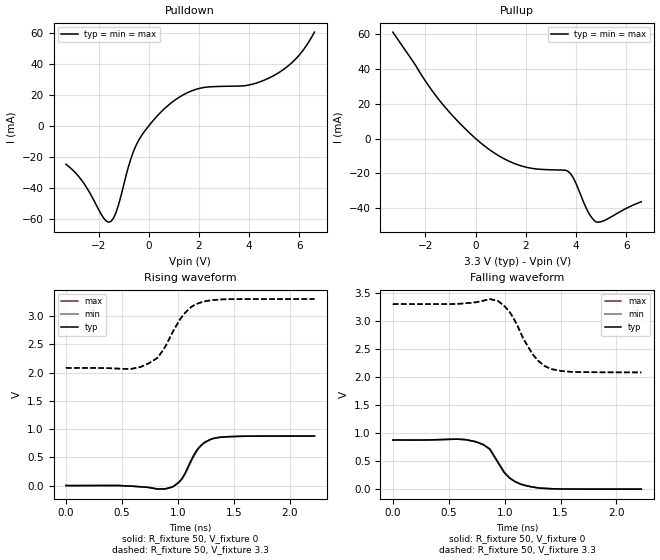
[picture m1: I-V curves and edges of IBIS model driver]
| IBIS file ex2_weak_tr1ps.ibs created by PYS2IBIS3
| Missouri S&T EMC Lab
[IBIS Ver] 7.1
[File Name] ex2_weak_tr1ps.ibs
[File Rev] 1.0
[Date] July 28, 2026
[Source] ex2 variant 'weak' -- output stage at half width
[Notes] Parameter selection; sim_time=2.222e-09, tr=tf=1.000e-12.
[Disclaimer] Experimental characterization for pybis observability study.
[Component] MCM Driver 1
[Manufacturer] MegaFLOPS Inc.
[Package]
| variable   typ   min   max
R_pkg 0 NA NA
L_pkg 0H NA NA
C_pkg 0F NA NA
[Pin]  signal_name   model_name   R_pin   L_pin   C_pin
vdd   vdd   POWER
gnd   gnd   GND
| in in dummy
out   out   driver
| End of Component
| Models and submodels in the file (1): driver (Output)
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[Model] driver
Model_type Output
Polarity Non-Inverting
Enable Active-Low
Vinl  = 0.8V
Vinh  = 2V
C_comp 5.0000pF 5.0000pF 5.0000pF
[Temperature Range] 27.0000 27.0000 27.0000
[Voltage Range] 3.3000V 3.3000V 3.3000V
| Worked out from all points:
|   slope of the pulldown table from 0 to 0.495 V, typ, clamps not added: 54.7 ohm
|   slope of the pullup table from 0 to 0.495 V, typ, clamps not added: 85.1 ohm
|   rising waveform, R_fixture 50, V_fixture 0: 20-80 % time 149ps typ, 151ps min, 151ps max; typ from 0 V to 0.876 V
|   rising waveform, R_fixture 50, V_fixture 3.3: 20-80 % time 224ps typ, 221ps min, 221ps max; typ from 2.08 V to 3.3 V
|   falling waveform, R_fixture 50, V_fixture 0: 20-80 % time 191ps typ, 190ps min, 190ps max; typ from 0.876 V to 0 V
|   falling waveform, R_fixture 50, V_fixture 3.3: 20-80 % time 208ps typ, 208ps min, 208ps max; typ from 3.3 V to 2.08 V
[Pulldown]
| Voltage   I(typ)   I(min)   I(max)
-3.3V     -24.71mA   -24.71mA   -24.71mA
-2.6V     -36.69mA   -36.69mA   -36.69mA
-1.8V     -59.35mA   -59.35mA   -59.35mA
-1.5V     -61.44mA   -61.44mA   -61.44mA
-1.3V     -55.57mA   -55.57mA   -55.57mA
-500mV    -12.32mA   -12.32mA   -12.32mA
600mV     10.7mA     10.7mA     10.7mA
1.9V      23.61mA    23.61mA    23.61mA
3.9V      26.05mA    26.05mA    26.05mA
4.9V      31.7mA     31.7mA     31.7mA
5.9V      43.88mA    43.88mA    43.88mA
6.6V      60.38mA    60.38mA    60.38mA
[Pullup]
| Voltage   I(typ)   I(min)   I(max)
-3.3V     61.37mA    61.37mA    61.37mA
-1.9V     30.97mA    30.97mA    30.97mA
-1.3V     19.49mA    19.49mA    19.49mA
-200mV    2.648mA    2.648mA    2.648mA
700mV     -7.897mA   -7.897mA   -7.897mA
2V        -16.47mA   -16.47mA   -16.47mA
3.7V      -19.09mA   -19.09mA   -19.09mA
3.9V      -22.93mA   -22.93mA   -22.93mA
4.5V      -42.81mA   -42.81mA   -42.81mA
4.8V      -48.13mA   -48.13mA   -48.13mA
5.1V      -47.39mA   -47.39mA   -47.39mA
6.6V      -36.41mA   -36.41mA   -36.41mA
[Ramp]
| variable   typ   min   max
dV/dt_r 0.5258/0.1495n 0.5258/0.1508n 0.5258/0.1508n
dV/dt_f 0.7308/0.2081n 0.7308/0.2078n 0.7308/0.2078n
R_load = 50
[Rising Waveform]
R_fixture = 50
V_fixture = 0
|time   V(typ)   V(min)   V(max)
0s        5.892nV    5.892nV    5.892nV
442.7ps   2.261mV    2.474mV    2.474mV
903.1ps   -50.58mV   -54.27mV   -54.27mV
967.6ps   -7.066mV   -6.867mV   -6.867mV
1.037ns   125.8mV    108mV      108mV
1.148ns   557.7mV    536.9mV    536.9mV
1.186ns   667.4mV    655.7mV    655.7mV
1.292ns   815mV      817.9mV    817.9mV
1.502ns   869.6mV    868.9mV    868.9mV
2.222ns   876.3mV    876.3mV    876.3mV
[Rising Waveform]
R_fixture = 50
V_fixture = 3.3
|time   V(typ)   V(min)   V(max)
0s        2.081V     2.081V     2.081V
582.8ps   2.066V     2.068V     2.068V
729.6ps   2.153V     2.151V     2.151V
827.5ps   2.291V     2.275V     2.275V
878.7ps   2.42V      2.427V     2.427V
1.065ns   3.058V     3.057V     3.057V
1.13ns    3.173V     3.172V     3.172V
1.221ns   3.253V     3.248V     3.248V
1.455ns   3.297V     3.297V     3.297V
2.222ns   3.3V       3.3V       3.3V
[Falling Waveform]
R_fixture = 50
V_fixture = 0
|time   V(typ)   V(min)   V(max)
0s        876.4mV    876.4mV    876.4mV
567.2ps   891.8mV    891.4mV    891.4mV
743ps     844.3mV    846.9mV    846.9mV
869.8ps   701.2mV    713.2mV    713.2mV
989.9ps   310.4mV    321.4mV    321.4mV
1.039ns   206.1mV    212.2mV    212.2mV
1.094ns   132.5mV    134.8mV    134.8mV
1.201ns   56.3mV     57.63mV    57.63mV
1.426ns   6.96mV     6.716mV    6.716mV
2.222ns   21.04uV    17.78uV    17.78uV
[Falling Waveform]
R_fixture = 50
V_fixture = 3.3
|time   V(typ)   V(min)   V(max)
0s        3.3V       3.3V       3.3V
567.2ps   3.303V     3.303V     3.303V
865.3ps   3.389V     3.387V     3.387V
941ps     3.352V     3.356V     3.356V
1.057ns   3.118V     3.129V     3.129V
1.166ns   2.683V     2.697V     2.697V
1.248ns   2.41V      2.417V     2.417V
1.357ns   2.194V     2.199V     2.199V
1.53ns    2.102V     2.1V       2.1V
2.222ns   2.082V     2.082V     2.082V
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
